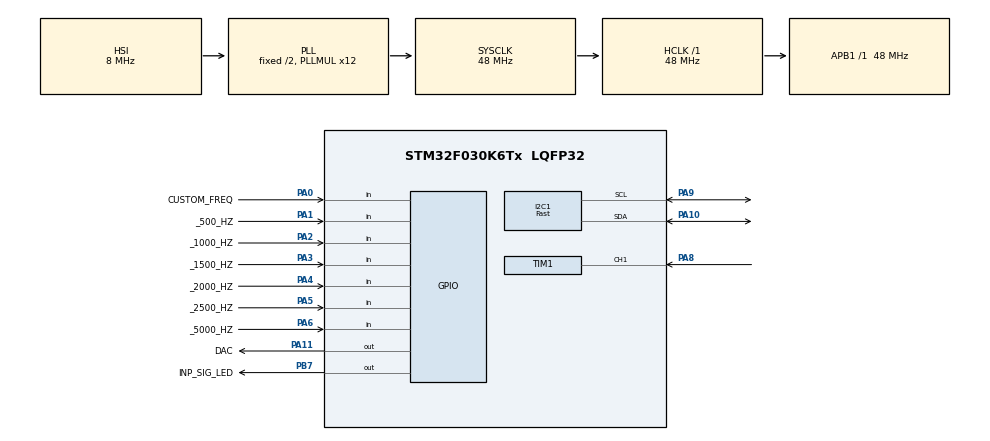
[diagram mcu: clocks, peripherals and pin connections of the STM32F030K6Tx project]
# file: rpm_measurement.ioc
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I2C1.I2C_Speed_Mode=I2C_Fast
I2C1.Timing=0x0010020A
Mcu.Family=STM32F0
Mcu.Name=STM32F030K6Tx
Mcu.Package=LQFP32
NVIC.TIM16_IRQn=true\:0\:0\:false\:false\:true\:true\:true\:true
NVIC.TIM1_CC_IRQn=true\:0\:0\:false\:false\:true\:true\:true\:true
PA0.GPIO_Label=CUSTOM_FREQ
PA0.Signal=GPIO_Input
PA1.GPIO_Label=_500_HZ
PA1.Signal=GPIO_Input
PA10.Mode=I2C
PA10.Signal=I2C1_SDA
PA11.GPIO_Label=DAC
PA11.Signal=GPIO_Output
PA13.Mode=Serial_Wire
PA13.Signal=SYS_SWDIO
PA14.Mode=Serial_Wire
PA14.Signal=SYS_SWCLK
PA2.GPIO_Label=_1000_HZ
PA2.Signal=GPIO_Input
PA3.GPIO_Label=_1500_HZ
PA3.Signal=GPIO_Input
PA4.GPIO_Label=_2000_HZ
PA4.Signal=GPIO_Input
PA5.GPIO_Label=_2500_HZ
PA5.Signal=GPIO_Input
PA6.GPIO_Label=_5000_HZ
PA6.Signal=GPIO_Input
PA8.Signal=S_TIM1_CH1
PA9.Mode=I2C
PA9.Signal=I2C1_SCL
PB7.GPIO_Label=INP_SIG_LED
PB7.Signal=GPIO_Output
ProjectManager.HeapSize=0x200
ProjectManager.StackSize=0x400
ProjectManager.TargetToolchain=STM32CubeIDE
RCC.AHBFreq_Value=48000000
RCC.APB1Freq_Value=48000000
RCC.APB1TimFreq_Value=48000000
RCC.HCLKFreq_Value=48000000
RCC.PLLMUL=RCC_PLL_MUL12
RCC.SYSCLKFreq_VALUE=48000000
RCC.SYSCLKSource=RCC_SYSCLKSOURCE_PLLCLK
SH.S_TIM1_CH1.0=TIM1_CH1,Input_Capture1_from_TI1
TIM1.Channel-Input_Capture1_from_TI1=TIM_CHANNEL_1
TIM1.Prescaler=1000
TIM16.Period=999
TIM16.Prescaler=47999
VP_TIM16_VS_ClockSourceINT.Mode=Enable_Timer
board=custom

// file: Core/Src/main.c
/* USER CODE BEGIN Header */
/**
  ******************************************************************************
  * @file           : main.c
  * @brief          : Main program body
  ******************************************************************************
  * @attention
  *
  * Copyright (c) 2024 STMicroelectronics.
  * All rights reserved.
  *
  * This software is licensed under terms that can be found in the LICENSE file
  * in the root directory of this software component.
  * If no LICENSE file comes with this software, it is provided AS-IS.
  *
  ******************************************************************************
  */
/* USER CODE END Header */
#include "main.h"

/* USER CODE BEGIN PD */
#define DAC_CONV_FACTOR		((float)4096/20000)
#define CLK_FREQ			(48000000UL)
#define REF_VLT				(3.30F)

/* USER CODE END PD */

I2C_HandleTypeDef hi2c1;

TIM_HandleTypeDef htim1;
TIM_HandleTypeDef htim16;

void SystemClock_Config(void);
static void MX_GPIO_Init(void);
static void MX_I2C1_Init(void);
static void MX_TIM16_Init(void);
static void MX_TIM1_Init(void);
/* USER CODE BEGIN PFP */
/**
 * @brief write default values. To be called in init hex
 */
/* DAC */
uint8_t dac_set_val(float volt) {
    uint16_t value = ((4095 * volt) / 3.3);
    if(value > 4095) value = 4095; /* max it out */
    uint8_t frame[2];
    frame[0] = (value >> 8) & 0x0FF;
    frame[1] = value & 0x0FF;
    uint8_t res = HAL_I2C_Master_Transmit(&hi2c1, 0xC2, frame, 2, HAL_MAX_DELAY);
    return res;
}
uint8_t dac_set_with_range(uint32_t val, uint32_t range) {
    uint16_t value = ((4095 * val) / range);
    if(value > 4095) value = 4095; /* max it out */
    uint8_t frame[2];

    frame[0] = (value >> 8) & 0x0FF;
    frame[1] = value & 0x0FF;
    uint8_t res = HAL_I2C_Master_Transmit(&hi2c1, 0xC2 , frame, 2, HAL_MAX_DELAY);
    return res;
}

/* USER CODE END PFP */

/* USER CODE BEGIN 0 */
volatile uint32_t pps, rpm;
volatile uint8_t led_flag=0 ;
int const blink =1000 ;
void HAL_TIM_IC_CaptureCallback(TIM_HandleTypeDef* htim) {
	static uint16_t c1 = 0, c2 = 0, intvl = 0;
	static uint8_t c1_flag;
	led_flag=1 ;
	if(htim->Instance == TIM1) {
		if(c1_flag) {
			c2 = HAL_TIM_ReadCapturedValue(htim, TIM_CHANNEL_1); /* Rising edge 2 */
			/* Calculate time between consecutive pulses */
			if(c2 >= c1) {
				intvl = c2 - c1;
			}
			else {
				intvl = c2 + (65536 - c1);
			}
			pps = (1 / (float)(intvl * (htim->Instance->PSC /(float)CLK_FREQ)));

			c1_flag = 0;
		}
		else {
			c1 = HAL_TIM_ReadCapturedValue(htim, TIM_CHANNEL_1); /* Rising edge 1 */
			c1_flag = 1;
		}
	}
}
void HAL_TIM_PeriodElapsedCallback(TIM_HandleTypeDef *htim){
	if(led_flag==2){
	HAL_GPIO_TogglePin(INP_SIG_LED_GPIO_Port, INP_SIG_LED_Pin);
	led_flag=0 ;
	}
	else if(led_flag==1){
		HAL_GPIO_WritePin(INP_SIG_LED_GPIO_Port, INP_SIG_LED_Pin,SET);
		led_flag=0 ;
	}
	else if(led_flag==0){
		HAL_GPIO_WritePin(INP_SIG_LED_GPIO_Port, INP_SIG_LED_Pin,RESET);
		pps=0 ;
	}
}
void freq_map() {
		if(!HAL_GPIO_ReadPin(_500_HZ_GPIO_Port,_500_HZ_Pin)){
			if(led_flag==1) led_flag=2 ;
			if(pps > 500){

				dac_set_val(3.3) ;

			}
			else{
				float volt=((REF_VLT * pps)/500) ;
				dac_set_val(volt) ;
			}

		}
		else if (!HAL_GPIO_ReadPin(_1000_HZ_GPIO_Port, _1000_HZ_Pin)){
			if(led_flag==1) led_flag=2 ;
			if(pps > 1000){

				dac_set_val(3.3) ;
			}
			else{
				float volt=((REF_VLT * pps)/1000) ;
				dac_set_val(volt) ;
			}

		}
		else if (!HAL_GPIO_ReadPin(_1500_HZ_GPIO_Port, _1500_HZ_Pin)){
			if(led_flag==1) led_flag=2 ;
			if(pps > 1500){

				dac_set_val(3.3) ;
			}
			else{
				float volt=((REF_VLT * pps)/1500) ;
				dac_set_val(volt) ;
			}

		}
		else if (!HAL_GPIO_ReadPin(_2000_HZ_GPIO_Port, _2000_HZ_Pin)){
			if(led_flag==1) led_flag=2 ;
			if(pps > 2000){

				dac_set_val(3.3) ;
			}
			else{
				float volt=((REF_VLT * pps)/2000) ;
				dac_set_val(volt) ;
			}

		}
		else if (!HAL_GPIO_ReadPin(_2500_HZ_GPIO_Port, _2500_HZ_Pin)){
			if(led_flag==1) led_flag=2 ;
			if(pps > 2500){

				dac_set_val(3.3) ;
			}
			else{
				float volt=((REF_VLT * pps)/2500) ;
				dac_set_val(volt) ;
			}

		}
		else if (!HAL_GPIO_ReadPin(_5000_HZ_GPIO_Port, _5000_HZ_Pin)){
			if(led_flag==1) led_flag=2 ;
			if(pps > 5000){

				dac_set_val(3.3) ;
			}
			else{
				float volt=((REF_VLT * pps)/5000) ;
				dac_set_val(volt) ;
			}

		}
		else if (!HAL_GPIO_ReadPin(CUSTOM_FREQ_GPIO_Port, CUSTOM_FREQ_Pin)){
			if(led_flag==1) led_flag=2 ;
			if(pps > 276){                         /// CHANGE 276 AS PER CUSTUM REQUIREMAT

				dac_set_val(3.3) ;
			}
			else{
				float volt=((REF_VLT * pps)/276) ;
				dac_set_val(volt) ;
			}

		}
		else dac_set_val(0) ;
}

/* USER CODE END 0 */

int main(void)
{

  /* MCU Configuration--------------------------------------------------------*/

  /* Reset of all peripherals, Initializes the Flash interface and the Systick. */
  HAL_Init();

  /* Configure the system clock */
  SystemClock_Config();

  /* Initialize all configured peripherals */
  MX_GPIO_Init();
  MX_I2C1_Init();
  MX_TIM16_Init();
  MX_TIM1_Init();
  /* USER CODE BEGIN 2 */
  HAL_TIM_Base_Start_IT(&htim16);
  HAL_TIM_IC_Start_IT(&htim1, TIM_CHANNEL_1);

  /* USER CODE END 2 */

  /* Infinite loop */
  /* USER CODE BEGIN WHILE */
 // HAL_Delay(2000);
  HAL_GPIO_WritePin(DAC_GPIO_Port,DAC_Pin, SET) ;
  dac_set_val(0); /* set analog out to 0 */
  HAL_Delay(2000);

  while (1)
  {		 freq_map() ;

    /* USER CODE END WHILE */

  }
}

void SystemClock_Config(void)
{
  RCC_OscInitTypeDef RCC_OscInitStruct = {0};
  RCC_ClkInitTypeDef RCC_ClkInitStruct = {0};
  RCC_PeriphCLKInitTypeDef PeriphClkInit = {0};

  /** Initializes the RCC Oscillators according to the specified parameters
  * in the RCC_OscInitTypeDef structure.
  */
  RCC_OscInitStruct.OscillatorType = RCC_OSCILLATORTYPE_HSI;
  RCC_OscInitStruct.HSIState = RCC_HSI_ON;
  RCC_OscInitStruct.HSICalibrationValue = RCC_HSICALIBRATION_DEFAULT;
  RCC_OscInitStruct.PLL.PLLState = RCC_PLL_ON;
  RCC_OscInitStruct.PLL.PLLSource = RCC_PLLSOURCE_HSI;
  RCC_OscInitStruct.PLL.PLLMUL = RCC_PLL_MUL12;
  RCC_OscInitStruct.PLL.PREDIV = RCC_PREDIV_DIV1;
  if (HAL_RCC_OscConfig(&RCC_OscInitStruct) != HAL_OK)
  {
    Error_Handler();
  }

  /** Initializes the CPU, AHB and APB buses clocks
  */
  RCC_ClkInitStruct.ClockType = RCC_CLOCKTYPE_HCLK|RCC_CLOCKTYPE_SYSCLK
                              |RCC_CLOCKTYPE_PCLK1;
  RCC_ClkInitStruct.SYSCLKSource = RCC_SYSCLKSOURCE_PLLCLK;
  RCC_ClkInitStruct.AHBCLKDivider = RCC_SYSCLK_DIV1;
  RCC_ClkInitStruct.APB1CLKDivider = RCC_HCLK_DIV1;

  if (HAL_RCC_ClockConfig(&RCC_ClkInitStruct, FLASH_LATENCY_1) != HAL_OK)
  {
    Error_Handler();
  }
  PeriphClkInit.PeriphClockSelection = RCC_PERIPHCLK_I2C1;
  PeriphClkInit.I2c1ClockSelection = RCC_I2C1CLKSOURCE_HSI;
  if (HAL_RCCEx_PeriphCLKConfig(&PeriphClkInit) != HAL_OK)
  {
    Error_Handler();
  }
}

static void MX_I2C1_Init(void)
{

  hi2c1.Instance = I2C1;
  hi2c1.Init.Timing = 0x0010020A;
  hi2c1.Init.OwnAddress1 = 0;
  hi2c1.Init.AddressingMode = I2C_ADDRESSINGMODE_7BIT;
  hi2c1.Init.DualAddressMode = I2C_DUALADDRESS_DISABLE;
  hi2c1.Init.OwnAddress2 = 0;
  hi2c1.Init.OwnAddress2Masks = I2C_OA2_NOMASK;
  hi2c1.Init.GeneralCallMode = I2C_GENERALCALL_DISABLE;
  hi2c1.Init.NoStretchMode = I2C_NOSTRETCH_DISABLE;
  if (HAL_I2C_Init(&hi2c1) != HAL_OK)
  {
    Error_Handler();
  }

  /** Configure Analogue filter
  */
  if (HAL_I2CEx_ConfigAnalogFilter(&hi2c1, I2C_ANALOGFILTER_ENABLE) != HAL_OK)
  {
    Error_Handler();
  }

  /** Configure Digital filter
  */
  if (HAL_I2CEx_ConfigDigitalFilter(&hi2c1, 0) != HAL_OK)
  {
    Error_Handler();
  }

}

static void MX_TIM1_Init(void)
{

  TIM_MasterConfigTypeDef sMasterConfig = {0};
  TIM_IC_InitTypeDef sConfigIC = {0};

  htim1.Instance = TIM1;
  htim1.Init.Prescaler = 1000;
  htim1.Init.CounterMode = TIM_COUNTERMODE_UP;
  htim1.Init.Period = 65535;
  htim1.Init.ClockDivision = TIM_CLOCKDIVISION_DIV1;
  htim1.Init.RepetitionCounter = 0;
  htim1.Init.AutoReloadPreload = TIM_AUTORELOAD_PRELOAD_DISABLE;
  if (HAL_TIM_IC_Init(&htim1) != HAL_OK)
  {
    Error_Handler();
  }
  sMasterConfig.MasterOutputTrigger = TIM_TRGO_RESET;
  sMasterConfig.MasterSlaveMode = TIM_MASTERSLAVEMODE_DISABLE;
  if (HAL_TIMEx_MasterConfigSynchronization(&htim1, &sMasterConfig) != HAL_OK)
  {
    Error_Handler();
  }
  sConfigIC.ICPolarity = TIM_INPUTCHANNELPOLARITY_RISING;
  sConfigIC.ICSelection = TIM_ICSELECTION_DIRECTTI;
  sConfigIC.ICPrescaler = TIM_ICPSC_DIV1;
  sConfigIC.ICFilter = 0;
  if (HAL_TIM_IC_ConfigChannel(&htim1, &sConfigIC, TIM_CHANNEL_1) != HAL_OK)
  {
    Error_Handler();
  }

}

static void MX_TIM16_Init(void)
{

  htim16.Instance = TIM16;
  htim16.Init.Prescaler = 47999;
  htim16.Init.CounterMode = TIM_COUNTERMODE_UP;
  htim16.Init.Period = 999;
  htim16.Init.ClockDivision = TIM_CLOCKDIVISION_DIV1;
  htim16.Init.RepetitionCounter = 0;
  htim16.Init.AutoReloadPreload = TIM_AUTORELOAD_PRELOAD_DISABLE;
  if (HAL_TIM_Base_Init(&htim16) != HAL_OK)
  {
    Error_Handler();
  }

}

static void MX_GPIO_Init(void)
{
  GPIO_InitTypeDef GPIO_InitStruct = {0};

  /* GPIO Ports Clock Enable */
  __HAL_RCC_GPIOA_CLK_ENABLE();
  __HAL_RCC_GPIOB_CLK_ENABLE();

  /*Configure GPIO pin Output Level */
  HAL_GPIO_WritePin(DAC_GPIO_Port, DAC_Pin, GPIO_PIN_RESET);

  /*Configure GPIO pin Output Level */
  HAL_GPIO_WritePin(INP_SIG_LED_GPIO_Port, INP_SIG_LED_Pin, GPIO_PIN_RESET);

  /*Configure GPIO pins : CUSTOM_FREQ_Pin _500_HZ_Pin _1000_HZ_Pin _1500_HZ_Pin
                           _2000_HZ_Pin _2500_HZ_Pin _5000_HZ_Pin */
  GPIO_InitStruct.Pin = CUSTOM_FREQ_Pin|_500_HZ_Pin|_1000_HZ_Pin|_1500_HZ_Pin
                          |_2000_HZ_Pin|_2500_HZ_Pin|_5000_HZ_Pin;
  GPIO_InitStruct.Mode = GPIO_MODE_INPUT;
  GPIO_InitStruct.Pull = GPIO_NOPULL;
  HAL_GPIO_Init(GPIOA, &GPIO_InitStruct);

  /*Configure GPIO pin : DAC_Pin */
  GPIO_InitStruct.Pin = DAC_Pin;
  GPIO_InitStruct.Mode = GPIO_MODE_OUTPUT_PP;
  GPIO_InitStruct.Pull = GPIO_NOPULL;
  GPIO_InitStruct.Speed = GPIO_SPEED_FREQ_LOW;
  HAL_GPIO_Init(DAC_GPIO_Port, &GPIO_InitStruct);

  /*Configure GPIO pin : INP_SIG_LED_Pin */
  GPIO_InitStruct.Pin = INP_SIG_LED_Pin;
  GPIO_InitStruct.Mode = GPIO_MODE_OUTPUT_PP;
  GPIO_InitStruct.Pull = GPIO_NOPULL;
  GPIO_InitStruct.Speed = GPIO_SPEED_FREQ_LOW;
  HAL_GPIO_Init(INP_SIG_LED_GPIO_Port, &GPIO_InitStruct);

}

void Error_Handler(void)
{
  __disable_irq();
  while (1)
  {
  }
}
